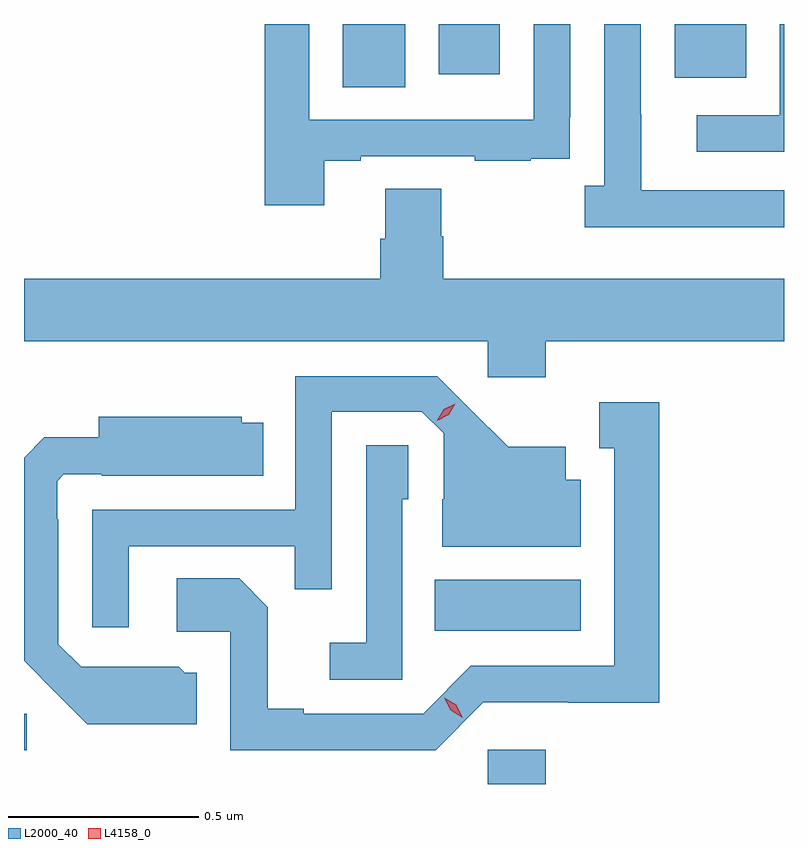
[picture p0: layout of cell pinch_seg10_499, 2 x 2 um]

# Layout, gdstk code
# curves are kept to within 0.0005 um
import gdstk
lib = gdstk.Library(unit=1e-6, precision=1e-09)
def R(c, l, rs):  # rectangles x0, y0, x1, y1
    for r in rs: c.add(gdstk.rectangle(r[:2], r[2:], *l))
def P(c, l, *ps):  # polygons
    for p in ps: c.add(gdstk.Polygon(p, *l))
L2000_40 = (2000, 40)
L4158_0 = (4158, 0)

pinch_seg10_499 = lib.new_cell('pinch_seg10_499')
R(pinch_seg10_499, L2000_40, [(323.1,1312.471,323.252,1312.561), (321.879,1312.56,321.886,1312.656), (322.96,1312.874,323.344,1313.008), (322.718,1314.304,322.882,1314.471), (323.591,1314.329,323.779,1314.471), (322.97,1314.339,323.131,1314.471)])
P(pinch_seg10_499, L2000_40, [(323.879,1314.033),(323.503,1314.033),(323.503,1314.233),(323.502,1314.233),(323.502,1314.471),(323.406,1314.471),(323.406,1314.046),(323.355,1314.046),(323.355,1313.936),(323.879,1313.936)],
  [(322.669,1314.111),(322.765,1314.111),(322.765,1314.123),(323.065,1314.123),(323.065,1314.111),(323.213,1314.111),(323.213,1314.117),(323.315,1314.117),(323.315,1314.226),(323.316,1314.226),(323.316,1314.471),(323.22,1314.471),(323.22,1314.219),(322.629,1314.219),(322.629,1314.471),(322.513,1314.471),(322.513,1313.994),(322.669,1313.994)],
  [(323.879,1314.471),(323.868,1314.471),(323.868,1314.231),(323.649,1314.231),(323.649,1314.135),(323.879,1314.135)],
  [(323.252,1313.636),(323.879,1313.636),(323.879,1313.8),(322.982,1313.8),(322.982,1313.913),(322.977,1313.913),(322.977,1314.038),(322.829,1314.038),(322.829,1313.906),(322.817,1313.906),(322.817,1313.8),(321.879,1313.8),(321.879,1313.636),(323.1,1313.636),(323.1,1313.541),(323.252,1313.541)],
  [(322.155,1313.097),(322.591,1313.097),(322.591,1312.984),(322.689,1312.984),(322.689,1313.451),(322.926,1313.451),(322.983,1313.394),(322.983,1313.22),(322.979,1313.22),(322.979,1313.096),(323.344,1313.096),(323.344,1313.272),(323.305,1313.272),(323.305,1313.359),(323.153,1313.359),(322.966,1313.544),(322.593,1313.544),(322.593,1313.193),(322.059,1313.193),(322.059,1312.884),(322.155,1312.884)],
  [(323.088,1312.686),(323.31,1312.686),(323.31,1312.685),(323.551,1312.685),(323.551,1313.476),(323.393,1313.476),(323.393,1313.355),(323.432,1313.355),(323.432,1312.782),(323.055,1312.782),(322.929,1312.656),(322.615,1312.656),(322.615,1312.669),(322.521,1312.669),(322.521,1312.936),(322.445,1313.012),(322.281,1313.012),(322.281,1312.872),(322.422,1312.872),(322.422,1312.56),(322.962,1312.56)],
  [(322.333,1312.764),(322.302,1312.764),(322.286,1312.78),(322.152,1312.78),(322.152,1312.779),(322.029,1312.779),(321.969,1312.839),(321.969,1313.168),(321.966,1313.168),(321.966,1313.268),(321.984,1313.286),(322.084,1313.286),(322.084,1313.282),(322.508,1313.282),(322.508,1313.422),(322.452,1313.422),(322.452,1313.437),(322.076,1313.437),(322.076,1313.383),(321.932,1313.383),(321.879,1313.33),(321.879,1312.796),(322.045,1312.628),(322.333,1312.628)],
  [(322.875,1313.22),(322.89,1313.22),(322.89,1313.363),(322.779,1313.363),(322.779,1312.843),(322.683,1312.843),(322.683,1312.746),(322.875,1312.746)])
P(pinch_seg10_499, L4158_0, [(323.033,1312.646),(323.002,1312.665),(322.985,1312.698),(322.985,1312.698),(322.985,1312.698),(323.016,1312.679),(323.033,1312.646),(323.033,1312.646)],
  [(322.966,1313.427),(322.966,1313.428),(322.983,1313.457),(323.014,1313.472),(323.014,1313.472),(323.014,1313.472),(322.997,1313.443),(322.966,1313.427)])

lib.write_gds('pinch_seg10_499.gds')
